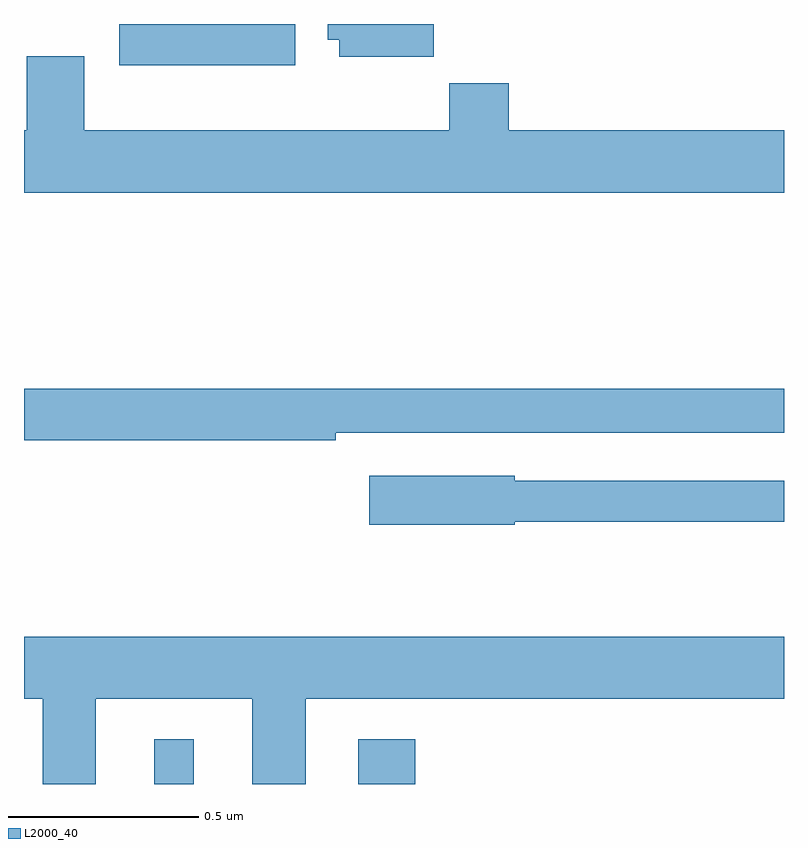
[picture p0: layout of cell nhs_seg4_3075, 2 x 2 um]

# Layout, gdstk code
import gdstk
lib = gdstk.Library(unit=1e-6, precision=1e-09)
def R(c, l, rs):  # rectangles x0, y0, x1, y1
    for r in rs: c.add(gdstk.rectangle(r[:2], r[2:], *l))
def P(c, l, *ps):  # polygons
    for p in ps: c.add(gdstk.Polygon(p, *l))
L2000_40 = (2000, 40)

nhs_seg4_3075 = lib.new_cell('nhs_seg4_3075')
R(nhs_seg4_3075, L2000_40, [(148.343,825.9,148.447,826.018), (148.88,825.9,149.03,826.018), (148.25,827.792,148.714,827.9)])
P(nhs_seg4_3075, L2000_40, [(149.078,827.9),(148.799,827.9),(148.799,827.858),(148.829,827.858),(148.829,827.814),(149.078,827.814)],
  [(150,827.62),(149.276,827.62),(149.276,827.744),(149.119,827.744),(149.119,827.62),(148.159,827.62),(148.159,827.815),(148.007,827.815),(148.007,827.62),(148,827.62),(148,827.456),(150,827.456)],
  [(148.82,826.824),(150,826.824),(150,826.94),(148,826.94),(148,826.804),(148.82,826.804)],
  [(149.292,826.59),(150,826.59),(150,826.698),(149.292,826.698),(149.292,826.711),(148.908,826.711),(148.908,826.582),(149.292,826.582)],
  [(148.189,826.124),(148.601,826.124),(148.601,825.9),(148.741,825.9),(148.741,826.124),(150,826.124),(150,826.288),(148,826.288),(148,826.124),(148.049,826.124),(148.049,825.9),(148.189,825.9)])

lib.write_gds('nhs_seg4_3075.gds')
